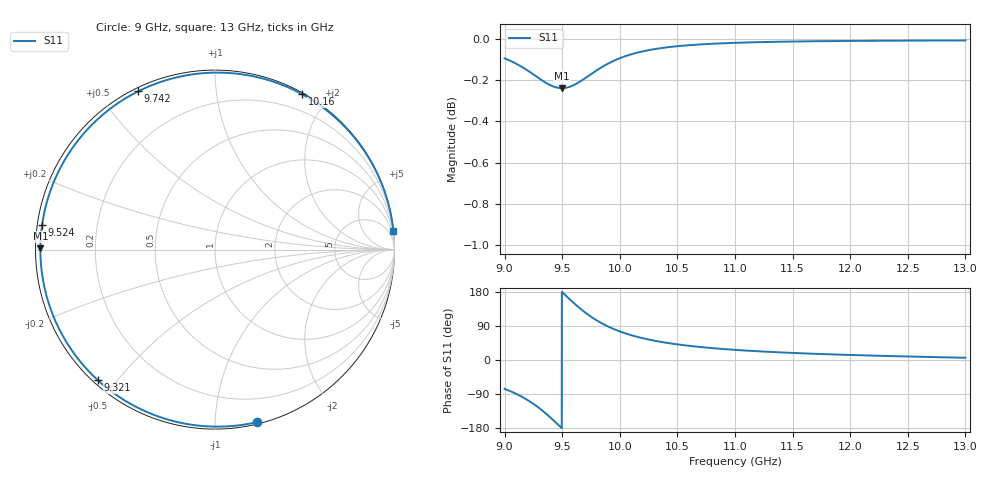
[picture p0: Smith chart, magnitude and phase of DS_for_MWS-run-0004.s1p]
! TOUCHSTONE file generated by CST DESIGN STUDIO
! Date and time: Tue Feb  4 14:24:08 2025
! Project name: C:\Work\MatlabApps\UnitCellOptimizationMatlab\CST\unitcell.cst
! Tree item: Tasks\Sweep1\SPara1\S-Parameters
! Header version: 2024
! Port assignment regex: !\s*Touchstone port\s*([0-9]+)\s*=\s*(CST MWS port|CST DES external port|CST DES block port)\s*(.+)\s* \(\"(.*)\"\)(\s*mode\s*([0-9]+))?.*
! Touchstone port assignment:
! Touchstone port 1 = CST DES external port 1 ("")
# GHz S MA R 50
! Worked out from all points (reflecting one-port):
!   4001 points, 9 GHz to 13 GHz, reference 50 ohm
!   lowest |S11| = -0.2 dB at 9.498 GHz (marker M1), VSWR 73.01, Z = 0.685 + j0.19 ohm
!   phase of S11 starts at -76 deg and turns -278 deg over the sweep
!   S11 on the Smith chart (normalised r, x): 9 GHz: 0.01, -1.27; 9.321 GHz: 0.01, -0.45; 9.524 GHz: 0.01, +0.07; 9.742 GHz: 0.01, +0.63; 10.16 GHz: 0.01, +1.71; 13 GHz: 0, +19
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9  0.9893 -76.3
9.083  0.987 -86.8
9.184  0.9833 -102.9
9.255  0.9803 -116.8
9.321  0.9774 -131.9
9.368  0.9756 -143.8
9.418  0.974 -157.4
9.459  0.9732 -169.1
9.498  0.973 179.6
9.5  0.973 179.0
9.524  0.9731 172.0
9.578  0.974 156.6
9.638  0.9759 140.4
9.689  0.978 127.8
9.742  0.9803 115.9
9.795  0.9826 105.4
9.853  0.9848 95.3
9.926  0.9873 84.5
10  0.9894 75.4
10.156  0.9926 60.7
10.312  0.9946 50.3
10.5  0.9961 41.2
10.722  0.9972 33.5
11  0.998 26.7
11.5  0.9987 18.6
12  0.999 13.3
12.5  0.9992 9.2
13  0.9993 5.9
